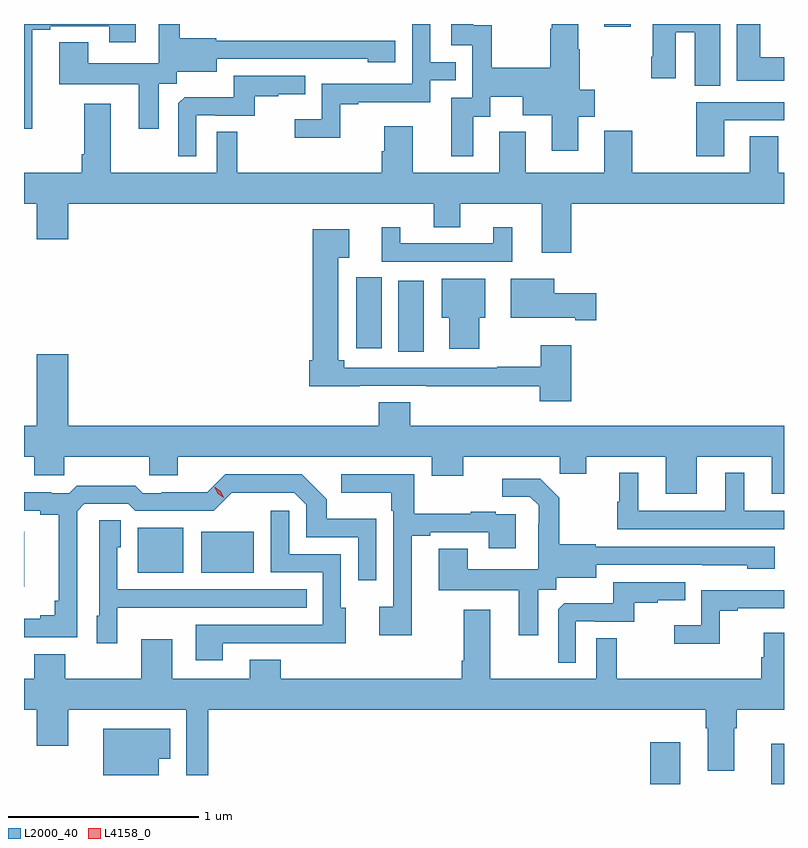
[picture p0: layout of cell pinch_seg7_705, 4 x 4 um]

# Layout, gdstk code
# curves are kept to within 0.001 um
import gdstk
lib = gdstk.Library(unit=1e-6, precision=1e-09)
def R(c, l, rs):  # rectangles x0, y0, x1, y1
    for r in rs: c.add(gdstk.rectangle(r[:2], r[2:], *l))
def P(c, l, *ps):  # polygons
    for p in ps: c.add(gdstk.Polygon(p, *l))
L2000_40 = (2000, 40)
L4158_0 = (4158, 0)

pinch_seg7_705 = lib.new_cell('pinch_seg7_705')
R(pinch_seg7_705, L2000_40, [(336.068,1018.874,336.226,1019.095), (336.704,1018.874,336.772,1019.086), (332.772,1019.912,332.773,1020.202), (333.371,1019.987,333.61,1020.223), (333.704,1019.987,333.982,1020.202), (334.742,1021.15,334.876,1021.522), (334.52,1021.167,334.654,1021.542), (335.825,1022.859,335.965,1022.874)])
P(pinch_seg7_705, L2000_40, [(332.815,1022.844),(332.911,1022.844),(332.911,1022.862),(333.221,1022.862),(333.221,1022.778),(333.361,1022.778),(333.361,1022.874),(332.772,1022.874),(332.772,1022.322),(332.815,1022.322)],
  [(333.481,1022.56),(333.576,1022.56),(333.576,1022.624),(333.787,1022.624),(333.787,1022.691),(334.345,1022.691),(334.345,1022.69),(334.581,1022.69),(334.581,1022.672),(334.726,1022.672),(334.726,1022.787),(333.783,1022.787),(333.783,1022.8),(333.591,1022.8),(333.591,1022.874),(333.48,1022.874),(333.48,1022.668),(333.109,1022.668),(333.109,1022.777),(332.957,1022.777),(332.957,1022.558),(333.377,1022.558),(333.377,1022.322),(333.481,1022.322)],
  [(334.437,1022.451),(334.531,1022.451),(334.531,1022.463),(334.911,1022.463),(334.911,1022.577),(335.045,1022.577),(335.045,1022.673),(334.911,1022.673),(334.911,1022.874),(334.815,1022.874),(334.815,1022.559),(334.338,1022.559),(334.338,1022.374),(334.197,1022.374),(334.197,1022.276),(334.437,1022.276)],
  [(336.436,1022.874),(336.08,1022.874),(336.08,1022.701),(336.073,1022.701),(336.073,1022.589),(336.202,1022.589),(336.202,1022.83),(336.302,1022.83),(336.302,1022.548),(336.436,1022.548)],
  [(336.772,1022.698),(336.646,1022.698),(336.646,1022.874),(336.524,1022.874),(336.524,1022.576),(336.772,1022.576)],
  [(335.137,1022.386),(335.227,1022.386),(335.227,1022.492),(335.396,1022.492),(335.396,1022.393),(335.549,1022.393),(335.549,1022.208),(335.689,1022.208),(335.689,1022.386),(335.776,1022.386),(335.776,1022.528),(335.697,1022.528),(335.697,1022.74),(335.689,1022.74),(335.689,1022.874),(335.549,1022.874),(335.549,1022.849),(335.542,1022.849),(335.542,1022.644),(335.235,1022.644),(335.235,1022.867),(335.137,1022.867),(335.137,1022.874),(335.021,1022.874),(335.021,1022.763),(335.13,1022.763),(335.13,1022.487),(335.021,1022.487),(335.021,1022.178),(335.137,1022.178)],
  [(333.678,1022.394),(333.778,1022.394),(333.778,1022.391),(333.986,1022.391),(333.986,1022.493),(334.109,1022.493),(334.109,1022.504),(334.253,1022.504),(334.253,1022.601),(333.876,1022.601),(333.876,1022.489),(333.617,1022.489),(333.585,1022.457),(333.585,1022.177),(333.678,1022.177)],
  [(336.457,1022.367),(336.772,1022.367),(336.772,1022.463),(336.31,1022.463),(336.31,1022.178),(336.457,1022.178)],
  [(335.651,1021.928),(336.772,1021.928),(336.772,1022.092),(336.741,1022.092),(336.741,1022.282),(336.593,1022.282),(336.593,1022.092),(335.973,1022.092),(335.973,1022.311),(335.825,1022.311),(335.825,1022.092),(335.413,1022.092),(335.413,1022.308),(335.273,1022.308),(335.273,1022.092),(334.819,1022.092),(334.819,1022.335),(334.667,1022.335),(334.667,1022.205),(334.655,1022.205),(334.655,1022.092),(333.895,1022.092),(333.895,1022.306),(333.786,1022.306),(333.786,1022.092),(333.229,1022.092),(333.229,1022.455),(333.089,1022.455),(333.089,1022.188),(333.077,1022.188),(333.077,1022.092),(332.772,1022.092),(332.772,1021.928),(332.84,1021.928),(332.84,1021.74),(333.004,1021.74),(333.004,1021.928),(334.928,1021.928),(334.928,1021.804),(335.068,1021.804),(335.068,1021.928),(335.498,1021.928),(335.498,1021.671),(335.651,1021.671)],
  [(335.341,1021.804),(335.243,1021.804),(335.243,1021.719),(334.753,1021.719),(334.753,1021.804),(334.655,1021.804),(334.655,1021.623),(335.341,1021.623)],
  [(335.651,1021.183),(335.491,1021.183),(335.491,1021.07),(335.263,1021.07),(335.263,1021.065),(334.457,1021.065),(334.457,1021.104),(334.426,1021.104),(334.426,1021.643),(334.483,1021.643),(334.483,1021.795),(334.292,1021.795),(334.292,1021.104),(334.274,1021.104),(334.274,1020.968),(334.54,1020.968),(334.54,1020.969),(334.888,1020.969),(334.888,1020.968),(335.486,1020.968),(335.486,1020.888),(335.651,1020.888)],
  [(335.785,1021.458),(335.563,1021.458),(335.563,1021.534),(335.333,1021.534),(335.333,1021.328),(335.672,1021.328),(335.672,1021.316),(335.785,1021.316)],
  [(335.167,1021.328),(335.2,1021.328),(335.2,1021.534),(334.97,1021.534),(334.97,1021.328),(335.009,1021.328),(335.009,1021.164),(335.167,1021.164)],
  [(336.313,1020.596),(336.707,1020.596),(336.707,1020.402),(336.772,1020.402),(336.772,1020.76),(334.805,1020.76),(334.805,1020.884),(334.64,1020.884),(334.64,1020.76),(333.004,1020.76),(333.004,1021.135),(332.84,1021.135),(332.84,1020.76),(332.772,1020.76),(332.772,1020.596),(332.825,1020.596),(332.825,1020.498),(332.985,1020.498),(332.985,1020.596),(333.43,1020.596),(333.43,1020.498),(333.58,1020.498),(333.58,1020.596),(334.919,1020.596),(334.919,1020.497),(335.083,1020.497),(335.083,1020.596),(335.593,1020.596),(335.593,1020.506),(335.731,1020.506),(335.731,1020.596),(336.149,1020.596),(336.149,1020.402),(336.313,1020.402)],
  [(336.772,1020.312),(336.562,1020.312),(336.562,1020.511),(336.464,1020.511),(336.464,1020.312),(336.004,1020.312),(336.004,1020.511),(335.906,1020.511),(335.906,1020.36),(335.895,1020.36),(335.895,1020.216),(336.772,1020.216)],
  [(334.813,1020.18),(334.909,1020.18),(334.909,1020.198),(335.219,1020.198),(335.219,1020.114),(335.359,1020.114),(335.359,1020.294),(335.255,1020.294),(335.255,1020.307),(335.123,1020.307),(335.123,1020.296),(334.825,1020.296),(334.825,1020.504),(334.443,1020.504),(334.443,1020.407),(334.704,1020.407),(334.704,1020.311),(334.716,1020.311),(334.716,1019.806),(334.641,1019.806),(334.641,1019.658),(334.813,1019.658)],
  [(333.051,1020.309),(333.09,1020.348),(333.321,1020.348),(333.357,1020.312),(333.771,1020.312),(333.866,1020.407),(334.194,1020.408),(334.257,1020.345),(334.257,1020.174),(334.53,1020.174),(334.53,1019.946),(334.626,1019.946),(334.626,1020.271),(334.365,1020.271),(334.365,1020.374),(334.234,1020.504),(333.831,1020.504),(333.737,1020.41),(333.496,1020.41),(333.496,1020.405),(333.396,1020.405),(333.357,1020.445),(333.049,1020.445),(333.009,1020.405),(332.915,1020.405),(332.915,1020.41),(332.772,1020.41),(332.772,1020.312),(332.858,1020.312),(332.858,1020.29),(332.954,1020.29),(332.954,1019.839),(332.935,1019.839),(332.935,1019.762),(332.858,1019.762),(332.858,1019.743),(332.772,1019.743),(332.772,1019.646),(333.051,1019.646)],
  [(335.479,1019.896),(335.574,1019.896),(335.574,1019.96),(335.785,1019.96),(335.785,1020.027),(336.579,1020.026),(336.579,1020.008),(336.724,1020.008),(336.724,1020.123),(335.781,1020.123),(335.781,1020.136),(335.589,1020.136),(335.589,1020.381),(335.489,1020.481),(335.289,1020.481),(335.289,1020.387),(335.433,1020.387),(335.48,1020.34),(335.48,1020.245),(335.478,1020.245),(335.478,1020.004),(335.107,1020.004),(335.107,1020.113),(334.955,1020.113),(334.955,1019.894),(335.375,1019.894),(335.375,1019.658),(335.479,1019.658)],
  [(333.817,1019.616),(334.247,1019.616),(334.247,1019.615),(334.465,1019.615),(334.465,1019.802),(334.44,1019.802),(334.44,1020.084),(334.167,1020.084),(334.167,1020.313),(334.071,1020.313),(334.071,1019.988),(334.344,1019.988),(334.344,1019.712),(333.677,1019.712),(333.677,1019.526),(333.817,1019.526)],
  [(333.264,1019.801),(333.581,1019.801),(333.581,1019.802),(334.259,1019.802),(334.259,1019.898),(333.264,1019.898),(333.264,1020.12),(333.28,1020.12),(333.28,1020.263),(333.168,1020.263),(333.168,1019.76),(333.155,1019.76),(333.155,1019.616),(333.264,1019.616)],
  [(335.676,1019.73),(335.776,1019.73),(335.776,1019.727),(335.984,1019.727),(335.984,1019.829),(336.107,1019.829),(336.107,1019.84),(336.251,1019.84),(336.251,1019.937),(335.874,1019.937),(335.874,1019.825),(335.615,1019.825),(335.583,1019.793),(335.583,1019.513),(335.676,1019.513)],
  [(336.435,1019.787),(336.529,1019.787),(336.529,1019.799),(336.772,1019.799),(336.772,1019.895),(336.336,1019.895),(336.336,1019.71),(336.195,1019.71),(336.195,1019.612),(336.435,1019.612)],
  [(333.743,1019.264),(336.359,1019.264),(336.359,1019.168),(336.371,1019.168),(336.371,1018.944),(336.511,1018.944),(336.511,1019.168),(336.524,1019.168),(336.524,1019.264),(336.772,1019.264),(336.772,1019.671),(336.665,1019.671),(336.665,1019.541),(336.653,1019.541),(336.653,1019.428),(335.893,1019.428),(335.893,1019.642),(335.784,1019.642),(335.784,1019.428),(335.227,1019.428),(335.227,1019.791),(335.087,1019.791),(335.087,1019.524),(335.075,1019.524),(335.075,1019.428),(334.123,1019.428),(334.123,1019.527),(333.959,1019.527),(333.959,1019.428),(333.553,1019.428),(333.553,1019.635),(333.389,1019.635),(333.389,1019.428),(332.989,1019.428),(332.989,1019.557),(332.825,1019.557),(332.825,1019.428),(332.772,1019.428),(332.772,1019.264),(332.84,1019.264),(332.84,1019.076),(333.004,1019.076),(333.004,1019.264),(333.627,1019.264),(333.627,1018.92),(333.743,1018.92)],
  [(333.481,1019.006),(333.542,1019.006),(333.542,1019.164),(333.188,1019.164),(333.188,1018.919),(333.481,1018.919)])
P(pinch_seg7_705, L4158_0, [(333.823,1020.381),(333.792,1020.402),(333.777,1020.436),(333.777,1020.437),(333.778,1020.437),(333.808,1020.415),(333.823,1020.381),(333.823,1020.381)])

lib.write_gds('pinch_seg7_705.gds')
